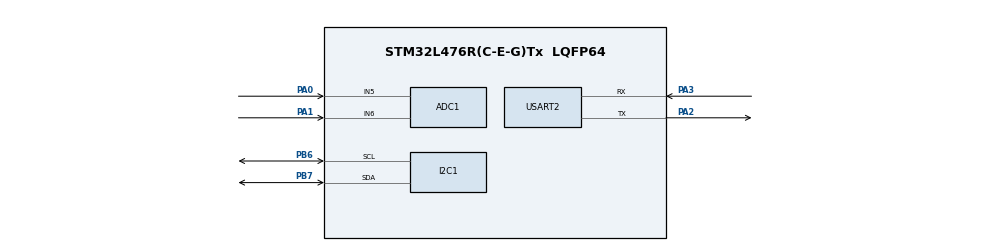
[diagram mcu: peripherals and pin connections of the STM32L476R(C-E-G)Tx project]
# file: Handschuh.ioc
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ADC1.Channel-4\#ChannelRegularConversion=ADC_CHANNEL_5
ADC1.Channel-6\#ChannelRegularConversion=ADC_CHANNEL_6
ADC1.ClockPrescaler=ADC_CLOCK_ASYNC_DIV64
ADC1.ContinuousConvMode=ENABLE
ADC1.DMAContinuousRequests=ENABLE
ADC1.EOCSelection=ADC_EOC_SEQ_CONV
ADC1.EnableRegularConversion=ENABLE
ADC1.NbrOfConversion=2
ADC1.NbrOfConversionFlag=1
ADC1.OffsetNumber-4\#ChannelRegularConversion=ADC_OFFSET_NONE
ADC1.OffsetNumber-6\#ChannelRegularConversion=ADC_OFFSET_NONE
ADC1.Overrun=ADC_OVR_DATA_OVERWRITTEN
ADC1.Rank-4\#ChannelRegularConversion=1
ADC1.Rank-6\#ChannelRegularConversion=2
ADC1.SamplingTime-4\#ChannelRegularConversion=ADC_SAMPLETIME_640CYCLES_5
ADC1.SamplingTime-6\#ChannelRegularConversion=ADC_SAMPLETIME_640CYCLES_5
ADC1.master=1
Dma.ADC1.0.Direction=DMA_PERIPH_TO_MEMORY
Dma.ADC1.0.Instance=DMA1_Channel1
Dma.ADC1.0.MemDataAlignment=DMA_MDATAALIGN_HALFWORD
Dma.ADC1.0.MemInc=DMA_MINC_ENABLE
Dma.ADC1.0.Mode=DMA_CIRCULAR
Dma.ADC1.0.PeriphDataAlignment=DMA_PDATAALIGN_HALFWORD
Dma.ADC1.0.PeriphInc=DMA_PINC_DISABLE
Dma.ADC1.0.Priority=DMA_PRIORITY_LOW
Dma.Request0=ADC1
I2C1.Timing=0x00100D14
Mcu.Family=STM32L4
Mcu.Name=STM32L476R(C-E-G)Tx
Mcu.Package=LQFP64
NVIC.ADC1_2_IRQn=true\:1\:0\:true\:false\:true\:true\:true\:true
NVIC.DMA1_Channel1_IRQn=true\:0\:0\:false\:false\:true\:false\:true\:true
NVIC.PriorityGroup=NVIC_PRIORITYGROUP_4
PA0.Signal=ADCx_IN5
PA1.Signal=ADCx_IN6
PA2.Mode=Asynchronous
PA2.Signal=USART2_TX
PA3.Mode=Asynchronous
PA3.Signal=USART2_RX
PB6.Mode=I2C
PB6.Signal=I2C1_SCL
PB7.Mode=I2C
PB7.Signal=I2C1_SDA
PC1.Signal=ADCx_IN2
ProjectManager.HeapSize=0x200
ProjectManager.StackSize=0x400
ProjectManager.TargetToolchain=STM32CubeIDE
RCC.HSE_VALUE=8000000
RCC.HSI_VALUE=16000000
RCC.LSE_VALUE=32768
RCC.MSI_VALUE=4000000
RCC.VCOOutputFreq_Value=32000000
SH.ADCx_IN2.0=ADC1_IN2
SH.ADCx_IN5.0=ADC1_IN5,IN5-Single-Ended
SH.ADCx_IN6.0=ADC1_IN6,IN6-Single-Ended
TIM1.Channel-Output\ Compare1\ No\ Output=TIM_CHANNEL_1
TIM1.Period=1000
TIM1.Prescaler=100
TIM1.Pulse-Output\ Compare1\ No\ Output=500
TIM1.TIM_MasterOutputTrigger=TIM_TRGO_OC1REF
TIM1.TIM_MasterOutputTrigger2=TIM_TRGO2_OC1REF
TIM1.TIM_MasterSlaveMode=TIM_MASTERSLAVEMODE_ENABLE
USART2.VirtualMode-Asynchronous=VM_ASYNC
VP_TIM1_VS_ClockSourceINT.Mode=Internal
VP_TIM1_VS_no_output1.Mode=Output Compare1 No Output
board=custom

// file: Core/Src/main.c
/* USER CODE BEGIN Header */
/**
 ******************************************************************************
 * @file           : main.c
 * @brief          : Main program body
 ******************************************************************************
 * @attention
 *
 * Copyright (c) 2026 STMicroelectronics.
 * All rights reserved.
 *
 * This software is licensed under terms that can be found in the LICENSE file
 * in the root directory of this software component.
 * If no LICENSE file comes with this software, it is provided AS-IS.
 *
 ******************************************************************************
 */
/* USER CODE END Header */
#include "main.h"

/* USER CODE BEGIN Includes */
#include "bno055_stm32/bno055_stm32.h"
#include <stdio.h>
#include <string.h>
/* USER CODE END Includes */

ADC_HandleTypeDef hadc1;
DMA_HandleTypeDef hdma_adc1;

I2C_HandleTypeDef hi2c1;

TIM_HandleTypeDef htim1;

UART_HandleTypeDef huart2;

/* USER CODE BEGIN PV */
#define SLAVE_ADDR 0x28   // Beispieladresse

volatile uint16_t adc_values[2];
volatile uint16_t adc_value;
uint8_t conv_complete = 0;
/* USER CODE END PV */

void SystemClock_Config(void);
static void MX_GPIO_Init(void);
static void MX_DMA_Init(void);
static void MX_I2C1_Init(void);
static void MX_USART2_UART_Init(void);
static void MX_ADC1_Init(void);
static void MX_TIM1_Init(void);
/* USER CODE BEGIN PFP */
int _write(int file, char *ptr, int len) {
	HAL_UART_Transmit(&huart2, (uint8_t*) ptr, len, HAL_MAX_DELAY);
	return len;
}
/* USER CODE END PFP */

int main(void)
{

  /* MCU Configuration--------------------------------------------------------*/

  /* Reset of all peripherals, Initializes the Flash interface and the Systick. */
  HAL_Init();

  /* Configure the system clock */
  SystemClock_Config();

  /* Initialize all configured peripherals */
  MX_GPIO_Init();
  MX_DMA_Init();
  MX_I2C1_Init();
  MX_USART2_UART_Init();
  MX_ADC1_Init();
  MX_TIM1_Init();
  /* USER CODE BEGIN 2 */
	if (HAL_I2C_IsDeviceReady(&hi2c1, SLAVE_ADDR << 1, 3, 100) == HAL_OK)
		printf("Slave antwortet\r\n");
	else
		printf("Kein Geraet gefunden\r\n");

	bno055_assignI2C(&hi2c1);
	bno055_setup();
	bno055_setOperationModeNDOF();

	HAL_ADC_Start_DMA(&hadc1, (uint32_t*) adc_values, 2);
  /* USER CODE END 2 */

  /* Infinite loop */
	while (1) {

    /* USER CODE BEGIN 3 */
		/* Register schreiben */
		//bno055_vector_t v = bno055_getVectorEuler();
		//printf("%.2f,%.2f,%.2f\r\n", v.x, v.y, v.z);
		// printf("Heading: %.2f Roll: %.2f Pitch: %.2f\r\n", v.x, v.y, v.z);
		//v = bno055_getVectorQuaternion();
		//printf("W: %.2f X: %.2f Y: %.2f Z: %.2f\r\n", v.w, v.x, v.y, v.z);
		//printf("%d,%d,%d,%d,%d\r\n", adc_values[0], adc_values[1], adc_values[2], adc_values[3], adc_values[4]);
		uint16_t poti1 = adc_values[0]; // PA0
		uint16_t poti2 = adc_values[1]; // PA1

		printf("%u\t%u\r\n", poti1, poti2);

		HAL_Delay(100);

		//HAL_Delay(20);
	}
  /* USER CODE END 3 */
}

void SystemClock_Config(void)
{
  RCC_OscInitTypeDef RCC_OscInitStruct = {0};
  RCC_ClkInitTypeDef RCC_ClkInitStruct = {0};

  /** Configure the main internal regulator output voltage
  */
  if (HAL_PWREx_ControlVoltageScaling(PWR_REGULATOR_VOLTAGE_SCALE1) != HAL_OK)
  {
    Error_Handler();
  }

  /** Initializes the RCC Oscillators according to the specified parameters
  * in the RCC_OscInitTypeDef structure.
  */
  RCC_OscInitStruct.OscillatorType = RCC_OSCILLATORTYPE_MSI;
  RCC_OscInitStruct.MSIState = RCC_MSI_ON;
  RCC_OscInitStruct.MSICalibrationValue = 0;
  RCC_OscInitStruct.MSIClockRange = RCC_MSIRANGE_6;
  RCC_OscInitStruct.PLL.PLLState = RCC_PLL_NONE;
  if (HAL_RCC_OscConfig(&RCC_OscInitStruct) != HAL_OK)
  {
    Error_Handler();
  }

  /** Initializes the CPU, AHB and APB buses clocks
  */
  RCC_ClkInitStruct.ClockType = RCC_CLOCKTYPE_HCLK|RCC_CLOCKTYPE_SYSCLK
                              |RCC_CLOCKTYPE_PCLK1|RCC_CLOCKTYPE_PCLK2;
  RCC_ClkInitStruct.SYSCLKSource = RCC_SYSCLKSOURCE_MSI;
  RCC_ClkInitStruct.AHBCLKDivider = RCC_SYSCLK_DIV1;
  RCC_ClkInitStruct.APB1CLKDivider = RCC_HCLK_DIV1;
  RCC_ClkInitStruct.APB2CLKDivider = RCC_HCLK_DIV1;

  if (HAL_RCC_ClockConfig(&RCC_ClkInitStruct, FLASH_LATENCY_0) != HAL_OK)
  {
    Error_Handler();
  }
}

static void MX_ADC1_Init(void)
{

  ADC_MultiModeTypeDef multimode = {0};
  ADC_ChannelConfTypeDef sConfig = {0};

  /** Common config
  */
  hadc1.Instance = ADC1;
  hadc1.Init.ClockPrescaler = ADC_CLOCK_ASYNC_DIV64;
  hadc1.Init.Resolution = ADC_RESOLUTION_12B;
  hadc1.Init.DataAlign = ADC_DATAALIGN_RIGHT;
  hadc1.Init.ScanConvMode = ADC_SCAN_ENABLE;
  hadc1.Init.EOCSelection = ADC_EOC_SEQ_CONV;
  hadc1.Init.LowPowerAutoWait = DISABLE;
  hadc1.Init.ContinuousConvMode = ENABLE;
  hadc1.Init.NbrOfConversion = 2;
  hadc1.Init.DiscontinuousConvMode = DISABLE;
  hadc1.Init.ExternalTrigConv = ADC_SOFTWARE_START;
  hadc1.Init.ExternalTrigConvEdge = ADC_EXTERNALTRIGCONVEDGE_NONE;
  hadc1.Init.DMAContinuousRequests = ENABLE;
  hadc1.Init.Overrun = ADC_OVR_DATA_OVERWRITTEN;
  hadc1.Init.OversamplingMode = DISABLE;
  if (HAL_ADC_Init(&hadc1) != HAL_OK)
  {
    Error_Handler();
  }

  /** Configure the ADC multi-mode
  */
  multimode.Mode = ADC_MODE_INDEPENDENT;
  if (HAL_ADCEx_MultiModeConfigChannel(&hadc1, &multimode) != HAL_OK)
  {
    Error_Handler();
  }

  /** Configure Regular Channel
  */
  sConfig.Channel = ADC_CHANNEL_5;
  sConfig.Rank = ADC_REGULAR_RANK_1;
  sConfig.SamplingTime = ADC_SAMPLETIME_640CYCLES_5;
  sConfig.SingleDiff = ADC_SINGLE_ENDED;
  sConfig.OffsetNumber = ADC_OFFSET_NONE;
  sConfig.Offset = 0;
  if (HAL_ADC_ConfigChannel(&hadc1, &sConfig) != HAL_OK)
  {
    Error_Handler();
  }

  /** Configure Regular Channel
  */
  sConfig.Channel = ADC_CHANNEL_6;
  sConfig.Rank = ADC_REGULAR_RANK_2;
  if (HAL_ADC_ConfigChannel(&hadc1, &sConfig) != HAL_OK)
  {
    Error_Handler();
  }

}

static void MX_I2C1_Init(void)
{

  hi2c1.Instance = I2C1;
  hi2c1.Init.Timing = 0x00100D14;
  hi2c1.Init.OwnAddress1 = 0;
  hi2c1.Init.AddressingMode = I2C_ADDRESSINGMODE_7BIT;
  hi2c1.Init.DualAddressMode = I2C_DUALADDRESS_DISABLE;
  hi2c1.Init.OwnAddress2 = 0;
  hi2c1.Init.OwnAddress2Masks = I2C_OA2_NOMASK;
  hi2c1.Init.GeneralCallMode = I2C_GENERALCALL_DISABLE;
  hi2c1.Init.NoStretchMode = I2C_NOSTRETCH_DISABLE;
  if (HAL_I2C_Init(&hi2c1) != HAL_OK)
  {
    Error_Handler();
  }

  /** Configure Analogue filter
  */
  if (HAL_I2CEx_ConfigAnalogFilter(&hi2c1, I2C_ANALOGFILTER_ENABLE) != HAL_OK)
  {
    Error_Handler();
  }

  /** Configure Digital filter
  */
  if (HAL_I2CEx_ConfigDigitalFilter(&hi2c1, 0) != HAL_OK)
  {
    Error_Handler();
  }

}

static void MX_TIM1_Init(void)
{

  TIM_ClockConfigTypeDef sClockSourceConfig = {0};
  TIM_MasterConfigTypeDef sMasterConfig = {0};
  TIM_OC_InitTypeDef sConfigOC = {0};
  TIM_BreakDeadTimeConfigTypeDef sBreakDeadTimeConfig = {0};

  htim1.Instance = TIM1;
  htim1.Init.Prescaler = 100;
  htim1.Init.CounterMode = TIM_COUNTERMODE_UP;
  htim1.Init.Period = 1000;
  htim1.Init.ClockDivision = TIM_CLOCKDIVISION_DIV1;
  htim1.Init.RepetitionCounter = 0;
  htim1.Init.AutoReloadPreload = TIM_AUTORELOAD_PRELOAD_DISABLE;
  if (HAL_TIM_Base_Init(&htim1) != HAL_OK)
  {
    Error_Handler();
  }
  sClockSourceConfig.ClockSource = TIM_CLOCKSOURCE_INTERNAL;
  if (HAL_TIM_ConfigClockSource(&htim1, &sClockSourceConfig) != HAL_OK)
  {
    Error_Handler();
  }
  if (HAL_TIM_OC_Init(&htim1) != HAL_OK)
  {
    Error_Handler();
  }
  sMasterConfig.MasterOutputTrigger = TIM_TRGO_OC1REF;
  sMasterConfig.MasterOutputTrigger2 = TIM_TRGO2_OC1REF;
  sMasterConfig.MasterSlaveMode = TIM_MASTERSLAVEMODE_ENABLE;
  if (HAL_TIMEx_MasterConfigSynchronization(&htim1, &sMasterConfig) != HAL_OK)
  {
    Error_Handler();
  }
  sConfigOC.OCMode = TIM_OCMODE_TIMING;
  sConfigOC.Pulse = 500;
  sConfigOC.OCPolarity = TIM_OCPOLARITY_HIGH;
  sConfigOC.OCNPolarity = TIM_OCNPOLARITY_HIGH;
  sConfigOC.OCFastMode = TIM_OCFAST_DISABLE;
  sConfigOC.OCIdleState = TIM_OCIDLESTATE_RESET;
  sConfigOC.OCNIdleState = TIM_OCNIDLESTATE_RESET;
  if (HAL_TIM_OC_ConfigChannel(&htim1, &sConfigOC, TIM_CHANNEL_1) != HAL_OK)
  {
    Error_Handler();
  }
  sBreakDeadTimeConfig.OffStateRunMode = TIM_OSSR_DISABLE;
  sBreakDeadTimeConfig.OffStateIDLEMode = TIM_OSSI_DISABLE;
  sBreakDeadTimeConfig.LockLevel = TIM_LOCKLEVEL_OFF;
  sBreakDeadTimeConfig.DeadTime = 0;
  sBreakDeadTimeConfig.BreakState = TIM_BREAK_DISABLE;
  sBreakDeadTimeConfig.BreakPolarity = TIM_BREAKPOLARITY_HIGH;
  sBreakDeadTimeConfig.BreakFilter = 0;
  sBreakDeadTimeConfig.Break2State = TIM_BREAK2_DISABLE;
  sBreakDeadTimeConfig.Break2Polarity = TIM_BREAK2POLARITY_HIGH;
  sBreakDeadTimeConfig.Break2Filter = 0;
  sBreakDeadTimeConfig.AutomaticOutput = TIM_AUTOMATICOUTPUT_DISABLE;
  if (HAL_TIMEx_ConfigBreakDeadTime(&htim1, &sBreakDeadTimeConfig) != HAL_OK)
  {
    Error_Handler();
  }

}

static void MX_USART2_UART_Init(void)
{

  huart2.Instance = USART2;
  huart2.Init.BaudRate = 115200;
  huart2.Init.WordLength = UART_WORDLENGTH_8B;
  huart2.Init.StopBits = UART_STOPBITS_1;
  huart2.Init.Parity = UART_PARITY_NONE;
  huart2.Init.Mode = UART_MODE_TX_RX;
  huart2.Init.HwFlowCtl = UART_HWCONTROL_NONE;
  huart2.Init.OverSampling = UART_OVERSAMPLING_16;
  huart2.Init.OneBitSampling = UART_ONE_BIT_SAMPLE_DISABLE;
  huart2.AdvancedInit.AdvFeatureInit = UART_ADVFEATURE_NO_INIT;
  if (HAL_UART_Init(&huart2) != HAL_OK)
  {
    Error_Handler();
  }

}

static void MX_DMA_Init(void)
{

  /* DMA controller clock enable */
  __HAL_RCC_DMA1_CLK_ENABLE();

  /* DMA interrupt init */
  /* DMA1_Channel1_IRQn interrupt configuration */
  HAL_NVIC_SetPriority(DMA1_Channel1_IRQn, 0, 0);
  HAL_NVIC_EnableIRQ(DMA1_Channel1_IRQn);

}

static void MX_GPIO_Init(void)
{

  /* GPIO Ports Clock Enable */
  __HAL_RCC_GPIOC_CLK_ENABLE();
  __HAL_RCC_GPIOA_CLK_ENABLE();
  __HAL_RCC_GPIOB_CLK_ENABLE();

}

void Error_Handler(void)
{
	__disable_irq();
	while (1) {
	}
}
